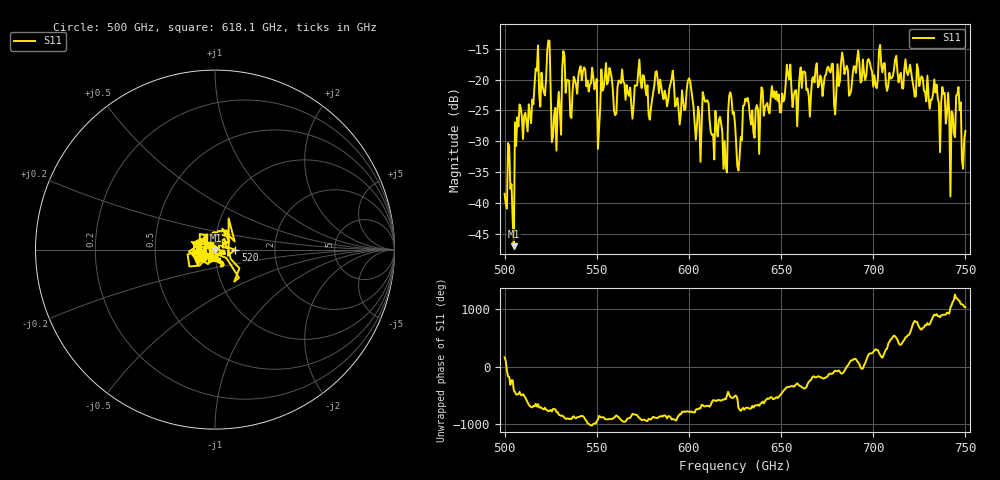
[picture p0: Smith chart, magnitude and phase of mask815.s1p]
!Created with skrf (http://scikit-rf.org).
# GHz S MA R 50.0
!freq magS11 angS11
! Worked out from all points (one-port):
!   401 points, 500 GHz to 750 GHz, reference 50 ohm
!   lowest |S11| = -47.0 dB at 505 GHz (marker M1), VSWR 1.01, Z = 50.2 - j0.379 ohm
!   |S11| at or under -10 dB: start of sweep to end of sweep
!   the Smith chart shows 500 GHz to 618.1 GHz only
!   S11 on the Smith chart (normalised r, x): 500 GHz: 0.98, +0.01; 520 GHz: 1.26, -0.00; 618.1 GHz: 0.94, +0.04
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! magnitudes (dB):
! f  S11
! 500 GHz  -38.5
! 505 GHz  -47.0
! 508.1 GHz  -24.0
! 520 GHz  -18.9
! 523.8 GHz  -13.6
! 526.9 GHz  -25.7
! 531.2 GHz  -18.1
! 542.5 GHz  -18.6
! 550.6 GHz  -31.2
! 562.5 GHz  -20.4
! 579.4 GHz  -24.7
! 590.6 GHz  -19.8
! 593.8 GHz  -23.0
! 600 GHz  -19.8
! 605 GHz  -24.4
! 608.8 GHz  -23.6
! 618.1 GHz  -28.5
! 620 GHz  -34.2
! 622.5 GHz  -22.1
! 625 GHz  -27.2
! 627.5 GHz  -32.5
! 630.6 GHz  -23.1
! 656.2 GHz  -24.5
! 687.5 GHz  -22.3
! 718.8 GHz  -19.2
! 743.1 GHz  -25.5
! 746.2 GHz  -21.2
! 750 GHz  -28.3
